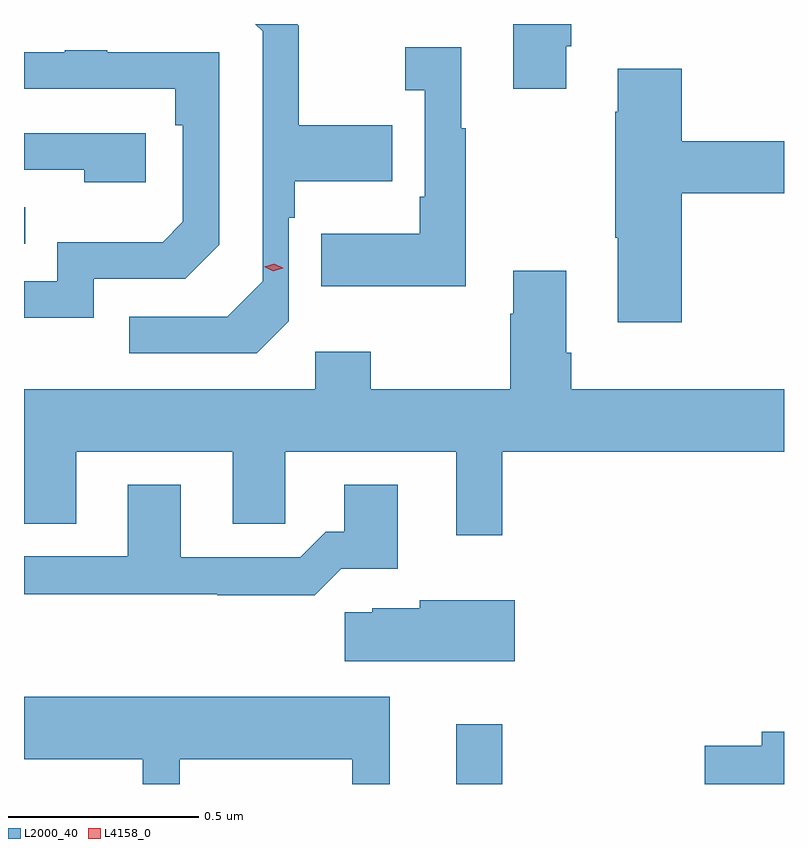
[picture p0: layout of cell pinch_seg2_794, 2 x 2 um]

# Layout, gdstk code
import gdstk
lib = gdstk.Library(unit=1e-6, precision=1e-09)
def R(c, l, rs):  # rectangles x0, y0, x1, y1
    for r in rs: c.add(gdstk.rectangle(r[:2], r[2:], *l))
def P(c, l, *ps):  # polygons
    for p in ps: c.add(gdstk.Polygon(p, *l))
L2000_40 = (2000, 40)
L4158_0 = (4158, 0)

pinch_seg2_794 = lib.new_cell('pinch_seg2_794')
R(pinch_seg2_794, L2000_40, [(732.557,632.109,732.679,632.266), (731.42,633.531,731.423,633.627)])
P(pinch_seg2_794, L2000_40, [(732.847,634.051),(732.86,634.051),(732.86,634.109),(732.707,634.109),(732.707,633.939),(732.847,633.939)],
  [(732.117,633.327),(732.117,633.599),(732.133,633.599),(732.133,633.695),(732.389,633.695),(732.389,633.843),(732.143,633.843),(732.143,634.105),(732.139,634.109),(732.029,634.109),(732.048,634.09),(732.048,633.432),(731.955,633.339),(731.697,633.339),(731.697,633.243),(732.033,633.243)],
  [(732.583,633.835),(732.571,633.835),(732.571,634.048),(732.423,634.048),(732.423,633.935),(732.474,633.935),(732.474,633.655),(732.462,633.655),(732.462,633.557),(732.202,633.557),(732.202,633.419),(732.583,633.419)],
  [(731.604,633.438),(731.844,633.438),(731.934,633.528),(731.934,634.035),(731.639,634.035),(731.639,634.04),(731.527,634.04),(731.527,634.035),(731.42,634.035),(731.42,633.939),(731.818,633.939),(731.818,633.842),(731.838,633.842),(731.838,633.588),(731.785,633.535),(731.508,633.535),(731.508,633.432),(731.42,633.432),(731.42,633.336),(731.604,633.336)],
  [(733.151,633.664),(733.42,633.664),(733.42,633.8),(733.151,633.8),(733.151,633.991),(732.983,633.991),(732.983,633.878),(732.976,633.878),(732.976,633.547),(732.983,633.547),(732.983,633.324),(733.151,633.324)],
  [(731.74,633.822),(731.42,633.822),(731.42,633.726),(731.579,633.726),(731.579,633.692),(731.74,633.692)],
  [(732.679,632.984),(733.42,632.984),(733.42,633.148),(732.86,633.148),(732.86,633.244),(732.847,633.244),(732.847,633.46),(732.707,633.46),(732.707,633.347),(732.7,633.347),(732.7,633.148),(732.333,633.148),(732.333,633.247),(732.186,633.247),(732.186,633.148),(731.42,633.148),(731.42,632.794),(731.557,632.794),(731.557,632.984),(731.969,632.984),(731.969,632.794),(732.108,632.794),(732.108,632.984),(732.557,632.984),(732.557,632.763),(732.679,632.763)],
  [(732.255,632.676),(732.403,632.676),(732.403,632.896),(732.263,632.896),(732.263,632.773),(732.214,632.773),(732.147,632.706),(731.833,632.706),(731.833,632.896),(731.693,632.896),(731.693,632.709),(731.42,632.709),(731.42,632.608),(731.929,632.608),(731.929,632.606),(732.185,632.606)],
  [(732.712,632.593),(732.462,632.593),(732.462,632.572),(732.336,632.572),(732.336,632.561),(732.264,632.561),(732.264,632.432),(732.712,632.432)],
  [(731.83,632.174),(732.284,632.174),(732.284,632.109),(732.382,632.109),(732.382,632.338),(731.42,632.338),(731.42,632.174),(731.732,632.174),(731.732,632.109),(731.83,632.109)],
  [(733.42,632.246),(733.361,632.246),(733.361,632.21),(733.212,632.21),(733.212,632.109),(733.42,632.109)])
P(pinch_seg2_794, L4158_0, [(732.076,633.458),(732.052,633.47),(732.052,633.47),(732.052,633.47),(732.078,633.478),(732.101,633.467),(732.102,633.466),(732.101,633.466)])

lib.write_gds('pinch_seg2_794.gds')
